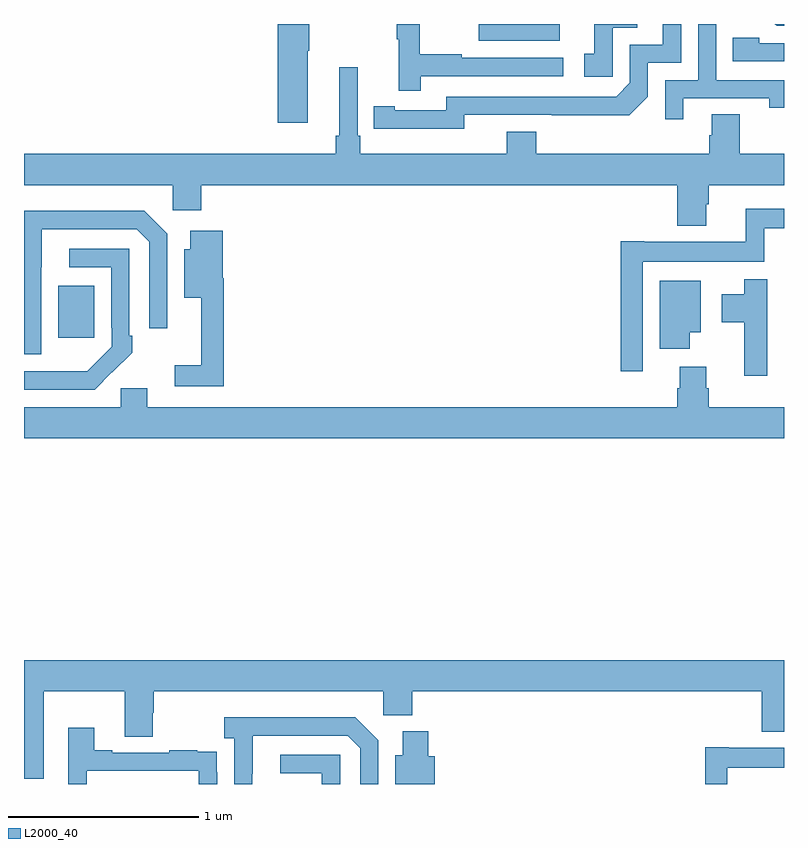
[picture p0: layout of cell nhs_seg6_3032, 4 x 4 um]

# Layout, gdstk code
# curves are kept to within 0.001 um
import gdstk
lib = gdstk.Library(unit=1e-6, precision=1e-09)
def R(c, l, rs):  # rectangles x0, y0, x1, y1
    for r in rs: c.add(gdstk.rectangle(r[:2], r[2:], *l))
def P(c, l, *ps):  # polygons
    for p in ps: c.add(gdstk.Polygon(p, *l))
L2000_40 = (2000, 40)

nhs_seg6_3032 = lib.new_cell('nhs_seg6_3032')
R(nhs_seg6_3032, L2000_40, [(289.181,963.849,289.369,964.123), (291.393,965.411,291.82,965.5)])
P(nhs_seg6_3032, L2000_40, [(292.098,965.481),(292.227,965.481),(292.227,965.5),(292.001,965.5),(292.001,965.343),(291.948,965.343),(291.948,965.223),(292.098,965.223)],
  [(291.089,965.226),(291.838,965.226),(291.838,965.322),(291.305,965.322),(291.305,965.342),(291.082,965.342),(291.082,965.5),(290.961,965.5),(290.961,965.419),(290.972,965.419),(290.972,965.148),(291.089,965.148)],
  [(290.494,965.359),(290.502,965.359),(290.502,965.5),(290.336,965.5),(290.336,964.98),(290.494,964.98)],
  [(292.471,965.109),(292.922,965.109),(292.922,965.058),(293,965.058),(293,965.205),(292.644,965.205),(292.644,965.5),(292.548,965.5),(292.548,965.205),(292.374,965.205),(292.374,964.998),(292.471,964.998)],
  [(293,965.5),(292.952,965.5),(292.962,965.49),(293,965.49)],
  [(291.318,965.022),(292.186,965.021),(292.284,965.118),(292.284,965.295),(292.458,965.295),(292.458,965.5),(292.361,965.5),(292.361,965.391),(292.188,965.391),(292.188,965.19),(292.116,965.118),(291.222,965.118),(291.222,965.046),(290.95,965.046),(290.95,965.066),(290.842,965.066),(290.842,964.95),(291.318,964.949)],
  [(293,965.4),(292.869,965.4),(292.869,965.427),(292.729,965.427),(292.729,965.304),(293,965.304)],
  [(292.591,964.551),(292.604,964.551),(292.604,964.652),(293,964.652),(293,964.816),(292.767,964.816),(292.767,965.024),(292.619,965.024),(292.619,964.914),(292.607,964.914),(292.607,964.816),(291.695,964.816),(291.695,964.933),(291.542,964.933),(291.542,964.816),(290.771,964.816),(290.771,964.912),(290.757,964.912),(290.757,965.272),(290.66,965.272),(290.66,964.912),(290.641,964.912),(290.641,964.816),(289,964.816),(289,964.652),(289.782,964.652),(289.782,964.521),(289.934,964.521),(289.934,964.652),(292.439,964.652),(292.439,964.439),(292.591,964.439)],
  [(292.257,964.25),(292.896,964.25),(292.896,964.424),(293,964.424),(293,964.528),(292.799,964.528),(292.799,964.354),(292.264,964.354),(292.264,964.357),(292.141,964.357),(292.141,963.672),(292.257,963.672)],
  [(289.092,964.219),(289.093,964.219),(289.093,964.419),(289.593,964.419),(289.659,964.353),(289.659,963.9),(289.755,963.9),(289.755,964.395),(289.634,964.516),(289,964.516),(289,963.762),(289.092,963.762)],
  [(290.051,964.162),(290.045,964.162),(290.045,964.411),(289.874,964.411),(289.874,964.315),(289.844,964.315),(289.844,964.058),(289.934,964.058),(289.934,963.703),(289.794,963.703),(289.794,963.594),(290.051,963.594)],
  [(289.463,963.667),(289.464,963.666),(289.569,963.771),(289.569,963.859),(289.554,963.859),(289.554,964.317),(289.239,964.317),(289.239,964.221),(289.458,964.221),(289.458,963.901),(289.461,963.901),(289.461,963.801),(289.333,963.673),(289,963.672),(289,963.576),(289.372,963.576)],
  [(292.912,964.156),(292.79,964.156),(292.79,964.078),(292.673,964.078),(292.673,963.931),(292.79,963.931),(292.79,963.648),(292.912,963.648)],
  [(292.504,963.878),(292.561,963.878),(292.561,964.15),(292.346,964.15),(292.346,963.792),(292.504,963.792)],
  [(293,963.484),(292.604,963.484),(292.604,963.582),(292.591,963.582),(292.591,963.697),(292.451,963.697),(292.451,963.582),(292.439,963.582),(292.439,963.484),(289.648,963.484),(289.648,963.582),(289.509,963.582),(289.509,963.484),(289,963.484),(289,963.32),(293,963.32)],
  [(289.105,961.988),(289.529,961.988),(289.529,961.75),(289.677,961.75),(289.677,961.875),(289.682,961.875),(289.682,961.988),(290.892,961.988),(290.892,961.862),(291.044,961.862),(291.044,961.988),(292.883,961.988),(292.883,961.775),(293,961.775),(293,962.152),(289,962.152),(289,961.527),(289.105,961.527)],
  [(290.202,961.555),(290.203,961.755),(290.703,961.755),(290.769,961.689),(290.769,961.5),(290.865,961.5),(290.865,961.731),(290.744,961.852),(290.055,961.852),(290.055,961.742),(290.106,961.742),(290.106,961.5),(290.202,961.5)],
  [(289.329,961.569),(289.92,961.569),(289.92,961.5),(290.016,961.5),(290.016,961.562),(290.015,961.562),(290.015,961.671),(289.913,961.671),(289.913,961.678),(289.765,961.678),(289.765,961.665),(289.465,961.665),(289.465,961.678),(289.369,961.678),(289.369,961.795),(289.233,961.795),(289.233,961.5),(289.329,961.5)],
  [(291.161,961.647),(291.128,961.647),(291.128,961.777),(290.993,961.777),(290.993,961.651),(290.954,961.651),(290.954,961.5),(291.161,961.5)],
  [(292.701,961.586),(293,961.586),(293,961.69),(292.708,961.69),(292.708,961.693),(292.585,961.693),(292.585,961.5),(292.701,961.5)],
  [(290.664,961.653),(290.349,961.653),(290.349,961.557),(290.568,961.557),(290.568,961.5),(290.664,961.5)])

lib.write_gds('nhs_seg6_3032.gds')
